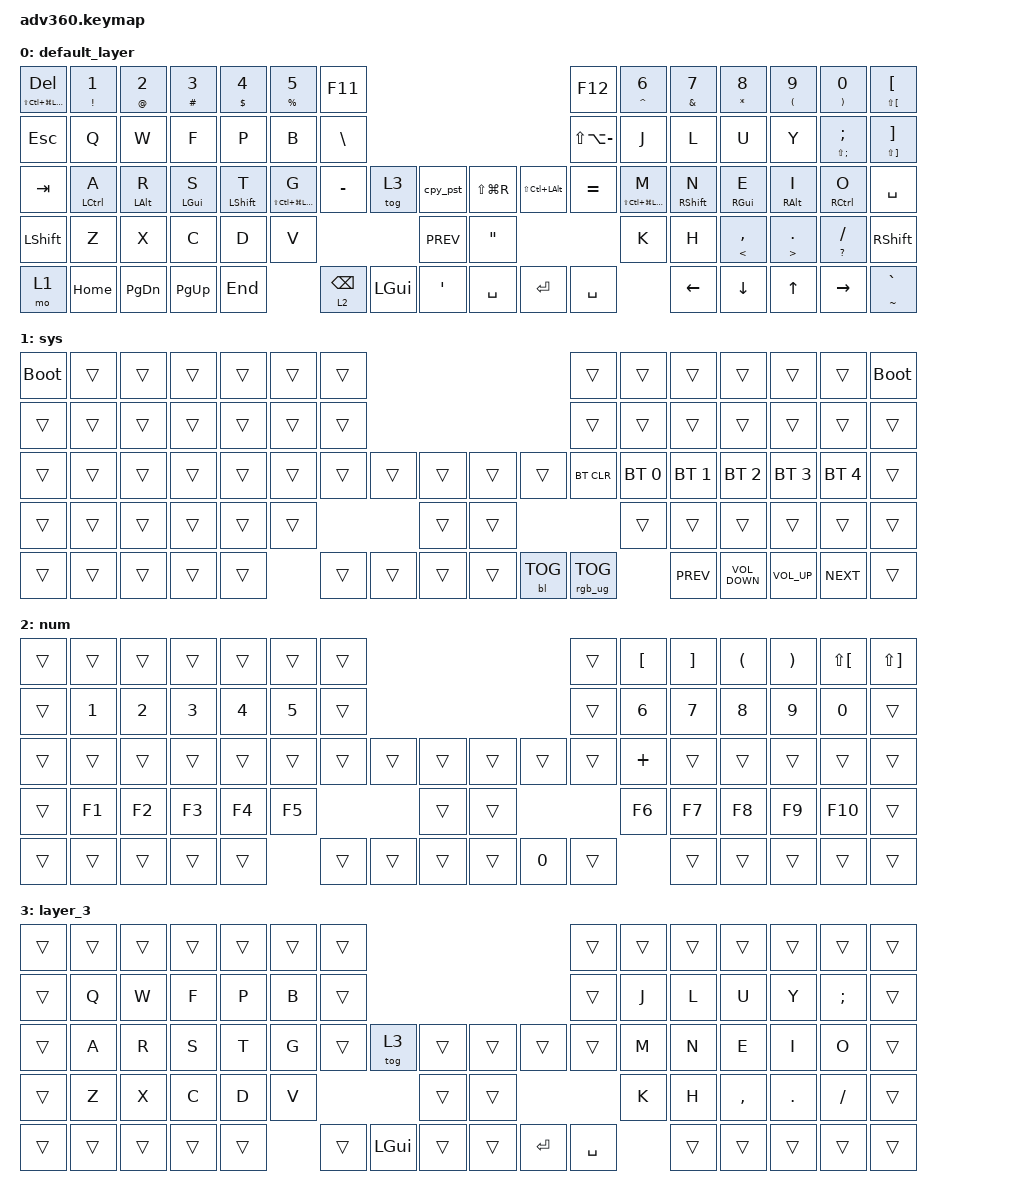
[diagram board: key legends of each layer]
#include <behaviors.dtsi>
#include <dt-bindings/zmk/backlight.h>
#include <dt-bindings/zmk/bt.h>
#include <dt-bindings/zmk/keys.h>
#include <dt-bindings/zmk/rgb.h>

/ {
    behaviors {
        #include "macros.dtsi"
      #include "version.dtsi"
      #ifndef VERSION_MACRO

        macro_ver: macro_ver {
            compatible = "zmk,behavior-macro";
            label = "macro_version";
            #binding-cells = <0>;
            bindings = <&kp RET>;
        };

        #endif

        hm: homerow_mods {
            compatible = "zmk,behavior-hold-tap";
            label = "HOMEROW_MODS";
            #binding-cells = <2>;
            tapping-term-ms = <200>;
            quick_tap_ms = <175>;
            flavor = "tap-preferred";
            bindings = <&kp>, <&kp>;
        };

        hml: hml {
            compatible = "zmk,behavior-hold-tap";
            label = "HML";
            bindings = <&kp>, <&kp>;

            #binding-cells = <2>;
            tapping-term-ms = <280>;
            quick-tap-ms = <150>;
            global-quick-tap;
            flavor = "balanced";
            hold-trigger-key-positions = <7 8 9 10 11 12 13 21 22 23 24 25 26 27 38 39 40 41 42 43 44 45 54 55 56 57 58 59 71 72 73 74 75 35 36 37 38 52 53 65 66 67 68 69 70 71>;
            hold-trigger-on-release;
        };

        cpy_pst: cpy_pst {
            compatible = "zmk,behavior-tap-dance";
            label = "CPY_PST";
            #binding-cells = <0>;
            bindings = <&kp LG(C)>, <&kp LG(V)>;

            tapping-term-ms = <125>;
        };

        hmr: hmr {
            compatible = "zmk,behavior-hold-tap";
            label = "HMR";
            bindings = <&kp>, <&kp>;

            #binding-cells = <2>;
            tapping-term-ms = <280>;
            quick-tap-ms = <175>;
            global-quick-tap;
            flavor = "balanced";
            hold-trigger-key-positions = <0 1 2 3 4 5 6 14 15 16 17 18 19 20 28 29 30 31 32 33 34 35 36 37 38 46 47 48 49 50 51 52 53 60 61 62 63 64 65 66 67 68 69 70>;
            hold-trigger-on-release;
        };
    };

    macros {
    };

    keymap {
        compatible = "zmk,keymap";

        default_layer {
            bindings = <
&mt LS(LC(LG(LEFT_ALT))) DEL  &mt EXCLAMATION NUMBER_1  &mt AT_SIGN NUMBER_2  &mt HASH NUMBER_3  &mt DOLLAR NUMBER_4  &mt PERCENT NUMBER_5         &kp F11                                                                                 &kp F12            &mt CARET NUMBER_6           &mt AMPERSAND NUMBER_7  &mt ASTERISK NUMBER_8  &mt LEFT_PARENTHESIS NUMBER_9  &mt RIGHT_PARENTHESIS NUMBER_0  &mt LS(LEFT_BRACKET) LEFT_BRACKET
&kp ESC                       &kp Q                     &kp W                 &kp F              &kp P                &kp B                        &kp BACKSLASH                                                                           &kp LS(LA(MINUS))  &kp J                        &kp L                   &kp U                  &kp Y                          &mt LS(SEMI) SEMICOLON          &mt LS(RIGHT_BRACKET) RIGHT_BRACKET
&kp TAB                       &hml LCTRL A              &hml LEFT_ALT R       &hml LGUI S        &hml LSHIFT T        &hml LS(LC(LG(LEFT_ALT))) G  &kp MINUS      &tog 3    &cpy_pst              &kp LS(LG(R))      &kp LS(LC(LEFT_ALT))  &kp EQUAL          &hmr LS(LC(LG(LEFT_ALT))) M  &hmr RIGHT_SHIFT N      &hmr RIGHT_GUI E       &hmr RIGHT_ALT I               &hmr RCTRL O                    &kp SPACE
&kp LSHFT                     &kp Z                     &kp X                 &kp C              &kp D                &kp V                                                 &kp C_PREV            &kp DOUBLE_QUOTES                                           &kp K                        &kp H                   &mt LESS_THAN COMMA    &mt GREATER_THAN PERIOD        &mt QUESTION FSLH               &kp RSHFT
&mo 1                         &kp HOME                  &kp PG_DN             &kp PG_UP          &kp END                                           &lt 2 BSPC     &kp LGUI  &kp SINGLE_QUOTE      &kp SPACE          &kp ENTER             &kp SPACE                                       &kp LEFT                &kp DOWN               &kp UP                         &kp RIGHT                       &mt TILDE GRAVE
            >;
        };

        sys {
            bindings = <
&bootloader  &trans  &trans  &trans  &trans  &trans  &trans                                          &trans           &trans        &trans        &trans             &trans        &trans        &bootloader
&trans       &trans  &trans  &trans  &trans  &trans  &trans                                          &trans           &trans        &trans        &trans             &trans        &trans        &trans
&trans       &trans  &trans  &trans  &trans  &trans  &trans  &trans  &trans      &trans  &trans      &bt BT_CLR       &bt BT_SEL 0  &bt BT_SEL 1  &bt BT_SEL 2       &bt BT_SEL 3  &bt BT_SEL 4  &trans
&trans       &trans  &trans  &trans  &trans  &trans                  &trans      &trans                               &trans        &trans        &trans             &trans        &trans        &trans
&trans       &trans  &trans  &trans  &trans          &trans  &trans  &trans      &trans  &bl BL_TOG  &rgb_ug RGB_TOG                &kp C_PREV    &kp C_VOLUME_DOWN  &kp C_VOL_UP  &kp C_NEXT    &trans
            >;

            label = "sys";
        };

        num {
            bindings = <
&trans  &trans        &trans        &trans        &trans        &trans        &trans                                            &trans  &kp LBKT      &kp RBKT      &kp LEFT_PARENTHESIS  &kp RIGHT_PARENTHESIS  &kp LS(LBKT)  &kp LS(RBKT)
&trans  &kp NUMBER_1  &kp NUMBER_2  &kp NUMBER_3  &kp NUMBER_4  &kp NUMBER_5  &trans                                            &trans  &kp NUMBER_6  &kp NUMBER_7  &kp NUMBER_8          &kp NUMBER_9           &kp NUMBER_0  &trans
&trans  &trans        &trans        &trans        &trans        &trans        &trans  &trans  &trans      &trans  &trans        &trans  &kp PLUS      &trans        &trans                &trans                 &trans        &trans
&trans  &kp F1        &kp F2        &kp F3        &kp F4        &kp F5                        &trans      &trans                        &kp F6        &kp F7        &kp F8                &kp F9                 &kp F10       &trans
&trans  &trans        &trans        &trans        &trans                      &trans  &trans  &trans      &trans  &kp NUMBER_0  &trans                &trans        &trans                &trans                 &trans        &trans
            >;

            label = "num";
        };

        layer_3 {
            bindings = <
&trans  &trans  &trans  &trans  &trans  &trans  &trans                                               &trans     &trans  &trans  &trans     &trans   &trans    &trans
&trans  &kp Q   &kp W   &kp F   &kp P   &kp B   &trans                                               &trans     &kp J   &kp L   &kp U      &kp Y    &kp SEMI  &trans
&trans  &kp A   &kp R   &kp S   &kp T   &kp G   &trans  &tog 3        &trans      &trans  &trans     &trans     &kp M   &kp N   &kp E      &kp I    &kp O     &trans
&trans  &kp Z   &kp X   &kp C   &kp D   &kp V                         &trans      &trans                        &kp K   &kp H   &kp COMMA  &kp DOT  &kp FSLH  &trans
&trans  &trans  &trans  &trans  &trans          &trans  &kp LEFT_GUI  &trans      &trans  &kp ENTER  &kp SPACE          &trans  &trans     &trans   &trans    &trans
            >;
        };
    };
};
